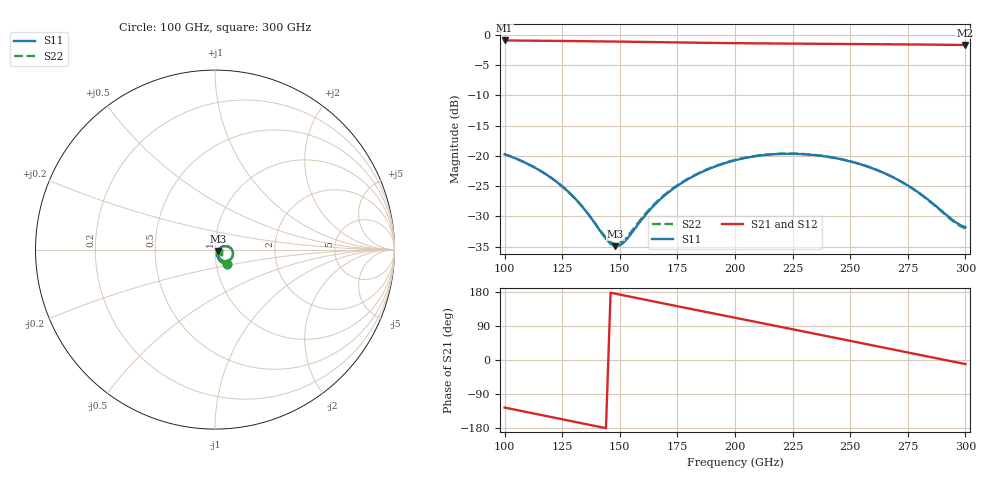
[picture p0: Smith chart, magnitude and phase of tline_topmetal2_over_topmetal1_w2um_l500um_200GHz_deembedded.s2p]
! Created with skrf 2.2.0 (http://scikit-rf.org).
# GHz S DB R 50.0
! Port[1] = P1
! Port[2] = P2
!freq dBS11 angS11 dBS21 angS21 dBS12 angS12 dBS22 angS22
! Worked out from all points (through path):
!   101 points, 100 GHz to 300 GHz, reference 50 ohm
!   highest |S21| = -0.92 dB at 100 GHz (marker M1); lowest = -1.7 dB at 300 GHz (marker M2)
!   group delay of S21, straight-line fit = 3.4 ps
!   lowest |S11| = -34.9 dB at 148 GHz (marker M3), VSWR 1.04, Z = 51.6 - j0.83 ohm
!   |S11| at or under -10 dB: start of sweep to end of sweep
!   |S22| runs from -34.6 to -19.6 dB; largest |S21 - S12| = 9.7e-14
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100  -19.72 -50.5  -0.92 -125.5  -0.92 -125.5  -19.72 -50.8
110  -21.31 -59.4  -0.95 -137.8  -0.95 -137.8  -21.32 -59.5
120  -23.56 -66.6  -0.98 -150.2  -0.98 -150.2  -23.56 -66.7
128  -26.05 -69.9  -1.01 -160.1  -1.01 -160.1  -26.05 -69.8
134  -28.51 -69.0  -1.04 -167.6  -1.04 -167.6  -28.50 -68.6
144  -33.71 -48.1  -1.08 -179.9  -1.08 -179.9  -33.53 -47.1
148  -34.91 -26.6  -1.10 175.1  -1.10 175.1  -34.59 -26.0
152  -34.20 -3.8  -1.12 170.2  -1.12 170.2  -33.85 -4.4
162  -29.36 20.7  -1.17 157.9  -1.17 157.9  -29.17 19.2
168  -27.02 22.6  -1.20 150.5  -1.20 150.5  -26.88 21.1
174  -25.20 21.2  -1.23 143.1  -1.23 143.1  -25.09 19.6
182  -23.34 16.8  -1.28 133.3  -1.28 133.3  -23.26 15.3
192  -21.66 9.2  -1.33 121.2  -1.33 121.2  -21.60 7.8
200  -20.72 2.1  -1.36 111.5  -1.36 111.5  -20.67 0.6
210  -19.98 -7.6  -1.39 99.3  -1.39 99.3  -19.94 -9.0
218  -19.70 -15.5  -1.42 89.6  -1.42 89.6  -19.66 -16.9
234  -19.84 -31.0  -1.46 70.1  -1.46 70.1  -19.81 -32.5
250  -20.91 -45.5  -1.50 50.5  -1.50 50.5  -20.88 -47.1
268  -23.41 -58.6  -1.55 28.5  -1.55 28.5  -23.41 -60.5
284  -27.29 -61.7  -1.60 8.8  -1.60 8.8  -27.34 -63.7
296  -31.01 -46.1  -1.65 -5.9  -1.65 -5.9  -31.16 -47.8
300  -31.79 -34.8  -1.66 -10.8  -1.66 -10.8  -31.95 -36.0
